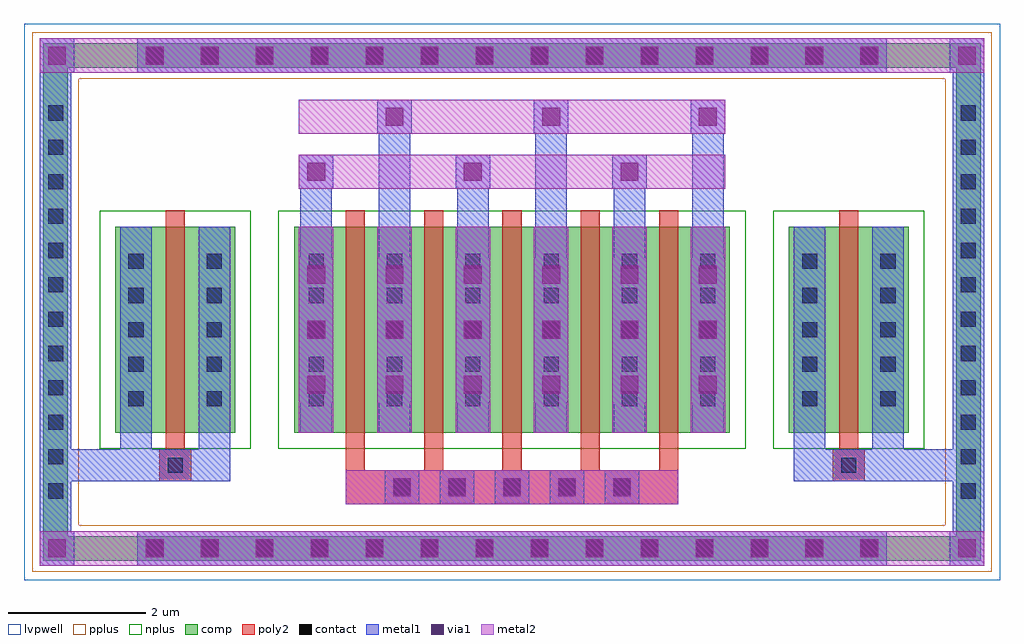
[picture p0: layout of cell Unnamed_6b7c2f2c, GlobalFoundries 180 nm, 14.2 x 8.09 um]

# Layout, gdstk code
import gdstk
lib = gdstk.Library(unit=1e-6, precision=5e-09)
def R(c, l, rs):  # rectangles x0, y0, x1, y1
    for r in rs: c.add(gdstk.rectangle(r[:2], r[2:], *l))
def A(c, l, x, y, w, h, nx, ny, dx, dy):  # array of equal rectangles
    R(c, l, [(x+i*dx, y+j*dy, x+i*dx+w, y+j*dy+h) for i in range(nx) for j in range(ny)])
def P(c, l, *ps):  # polygons
    for p in ps: c.add(gdstk.Polygon(p, *l))
comp = (22, 0)
poly2 = (30, 0)
pplus = (31, 0)
nplus = (32, 0)
contact = (33, 0)
metal1 = (34, 0)
via1 = (35, 0)
metal2 = (36, 0)
lvpwell = (204, 0)

unnamed_6b7c2f2c = lib.new_cell('Unnamed_6b7c2f2c')
A(unnamed_6b7c2f2c, comp, -5.38, -3.765, 0.36, 0.36, 14, 2, 0.8, 7.17)
A(unnamed_6b7c2f2c, comp, -6.82, -2.93, 0.36, 0.36, 1, 12, 0, 0.5)
A(unnamed_6b7c2f2c, comp, 6.46, -2.93, 0.36, 0.36, 1, 12, 0, 0.5)
R(unnamed_6b7c2f2c, comp, [(-5.38,-3.765,5.38,-3.405), (-6.82,-2.93,-6.46,2.93), (6.46,-2.93,6.82,2.93), (-5.77,-1.905,-4.03,1.095), (-3.17,-1.905,3.17,1.095), (4.03,-1.905,5.77,1.095), (-5.38,3.405,5.38,3.765)])
P(unnamed_6b7c2f2c, comp, [(-6.82,-3.765),(-6.82,-3.405),(-6.46,-3.405),(6.46,-3.405),(6.46,3.405),(-6.46,3.405),(-6.46,-3.405),(-6.82,-3.405),(-6.82,3.765),(6.82,3.765),(6.82,-3.765)])
A(unnamed_6b7c2f2c, poly2, -1.78, -2.875, 0.36, 0.36, 5, 1, 0.8, 0)
A(unnamed_6b7c2f2c, poly2, -2.42, -2.445, 0.28, 0.3, 5, 1, 1.14, 0)
A(unnamed_6b7c2f2c, poly2, -2.42, -2.145, 0.28, 3.48, 5, 1, 1.14, 0)
R(unnamed_6b7c2f2c, poly2, [(-2.42,-2.945,2.42,-2.445), (-5.13,-2.605,-4.67,-2.145), (4.67,-2.605,5.13,-2.145), (-5.08,-2.555,-4.72,-2.195), (4.72,-2.555,5.08,-2.195), (-5.04,-2.145,-4.76,1.335), (4.76,-2.145,5.04,1.335)])
P(unnamed_6b7c2f2c, pplus, [(-6.98,-3.925),(-6.98,-3.245),(-6.3,-3.245),(6.3,-3.245),(6.3,3.245),(-6.3,3.245),(-6.3,-3.245),(-6.98,-3.245),(-6.98,3.925),(6.98,3.925),(6.98,-3.925)])
R(unnamed_6b7c2f2c, nplus, [(-6,-2.135,-3.8,1.325), (-3.4,-2.135,3.4,1.325), (3.8,-2.135,6,1.325)])
A(unnamed_6b7c2f2c, contact, -5.31, -3.695, 0.22, 0.22, 14, 2, 0.8, 7.17)
A(unnamed_6b7c2f2c, contact, -6.75, -2.86, 0.22, 0.22, 1, 12, 0, 0.5)
A(unnamed_6b7c2f2c, contact, 6.53, -2.86, 0.22, 0.22, 1, 12, 0, 0.5)
A(unnamed_6b7c2f2c, contact, -1.71, -2.805, 0.22, 0.22, 5, 1, 0.8, 0)
A(unnamed_6b7c2f2c, contact, -5.58, -1.515, 0.22, 0.22, 1, 5, 0, 0.5)
A(unnamed_6b7c2f2c, contact, -4.44, -1.515, 0.22, 0.22, 1, 5, 0, 0.5)
A(unnamed_6b7c2f2c, contact, -2.96, -1.515, 0.22, 0.22, 6, 5, 1.14, 0.5)
A(unnamed_6b7c2f2c, contact, 4.22, -1.515, 0.22, 0.22, 1, 5, 0, 0.5)
A(unnamed_6b7c2f2c, contact, 5.36, -1.515, 0.22, 0.22, 1, 5, 0, 0.5)
R(unnamed_6b7c2f2c, contact, [(-5.01,-2.485,-4.79,-2.265), (4.79,-2.485,5.01,-2.265)])
A(unnamed_6b7c2f2c, metal1, -5.45, -3.835, 0.5, 0.5, 14, 2, 0.8, 7.17)
A(unnamed_6b7c2f2c, metal1, -6.87, -2.98, 0.46, 0.46, 1, 12, 0, 0.5)
A(unnamed_6b7c2f2c, metal1, 6.41, -2.98, 0.46, 0.46, 1, 12, 0, 0.5)
A(unnamed_6b7c2f2c, metal1, -1.85, -2.945, 0.5, 0.5, 5, 1, 0.8, 0)
A(unnamed_6b7c2f2c, metal1, -3.08, -1.905, 0.46, 3, 6, 1, 1.14, 0)
A(unnamed_6b7c2f2c, metal1, -5.7, -1.635, 0.46, 0.46, 1, 5, 0, 0.5)
A(unnamed_6b7c2f2c, metal1, -4.56, -1.635, 0.46, 0.46, 1, 5, 0, 0.5)
A(unnamed_6b7c2f2c, metal1, -3.08, -1.635, 0.46, 0.46, 6, 5, 1.14, 0.5)
A(unnamed_6b7c2f2c, metal1, 4.1, -1.635, 0.46, 0.46, 1, 5, 0, 0.5)
A(unnamed_6b7c2f2c, metal1, 5.24, -1.635, 0.46, 0.46, 1, 5, 0, 0.5)
A(unnamed_6b7c2f2c, metal1, -3.1, -1.455, 0.5, 2.1, 6, 1, 1.14, 0)
A(unnamed_6b7c2f2c, metal1, -3.1, -1.455, 0.5, 0.5, 6, 3, 1.14, 0.8)
A(unnamed_6b7c2f2c, metal1, -3.08, 1.095, 0.46, 1.05, 3, 1, 2.28, 0)
A(unnamed_6b7c2f2c, metal1, -1.94, 1.095, 0.46, 1.85, 3, 1, 2.28, 0)
A(unnamed_6b7c2f2c, metal1, -3.1, 1.645, 0.5, 0.5, 3, 1, 2.28, 0)
A(unnamed_6b7c2f2c, metal1, -1.96, 2.445, 0.5, 0.5, 3, 1, 2.28, 0)
R(unnamed_6b7c2f2c, metal1, [(-6.87,-3.835,-6.37,-3.335), (-6.87,-3.835,-6.37,-3.335), (-6.87,-3.835,-6.41,-3.405), (-5.45,-3.835,5.45,-3.335), (6.37,-3.835,6.87,-3.335), (6.37,-3.835,6.87,-3.335), (6.41,-3.835,6.87,-3.405), (-6.87,-3.405,-6.41,3.405), (6.41,-3.405,6.87,3.405), (-6.87,-2.605,-5.13,-2.145), (-5.7,-2.605,-5.13,-2.145), (-5.7,-2.605,-5.24,-1.905), (-5.13,-2.605,-4.67,-2.145), (-4.67,-2.605,-4.1,-2.145), (-4.56,-2.605,-4.1,-1.905), (4.1,-2.605,4.67,-2.145), (4.1,-2.605,4.56,-1.905), (4.67,-2.605,5.13,-2.145), (4.67,-2.605,6.87,-2.145), (5.13,-2.605,5.7,-2.145), (5.24,-2.605,5.7,-1.905), (-5.7,-1.905,-5.24,1.095), (-4.56,-1.905,-4.1,1.095), (4.1,-1.905,4.56,1.095), (5.24,-1.905,5.7,1.095), (-6.87,3.335,-6.37,3.835), (-6.87,3.335,-6.37,3.835), (-5.45,3.335,5.45,3.835), (6.37,3.335,6.87,3.835), (6.37,3.335,6.87,3.835), (-6.87,3.405,-6.41,3.835), (6.41,3.405,6.87,3.835)])
A(unnamed_6b7c2f2c, via1, -5.33, -3.715, 0.26, 0.26, 14, 2, 0.8, 7.17)
A(unnamed_6b7c2f2c, via1, -1.73, -2.825, 0.26, 0.26, 5, 1, 0.8, 0)
A(unnamed_6b7c2f2c, via1, -2.98, -1.335, 0.26, 0.26, 6, 3, 1.14, 0.8)
A(unnamed_6b7c2f2c, via1, -2.98, 1.765, 0.26, 0.26, 3, 1, 2.28, 0)
A(unnamed_6b7c2f2c, via1, -1.84, 2.565, 0.26, 0.26, 3, 1, 2.28, 0)
R(unnamed_6b7c2f2c, via1, [(-6.75,-3.715,-6.49,-3.455), (6.49,-3.715,6.75,-3.455), (-6.75,3.455,-6.49,3.715), (6.49,3.455,6.75,3.715)])
A(unnamed_6b7c2f2c, metal2, -5.45, -3.835, 0.5, 0.5, 14, 2, 0.8, 7.17)
A(unnamed_6b7c2f2c, metal2, -1.85, -2.945, 0.5, 0.5, 5, 1, 0.8, 0)
A(unnamed_6b7c2f2c, metal2, -3.1, -1.905, 0.5, 3, 6, 1, 1.14, 0)
A(unnamed_6b7c2f2c, metal2, -3.1, -1.455, 0.5, 0.5, 6, 3, 1.14, 0.8)
A(unnamed_6b7c2f2c, metal2, -3.1, 1.645, 0.5, 0.5, 3, 1, 2.28, 0)
A(unnamed_6b7c2f2c, metal2, -1.96, 2.445, 0.5, 0.5, 3, 1, 2.28, 0)
R(unnamed_6b7c2f2c, metal2, [(-6.87,-3.835,-6.37,-3.335), (-6.87,-3.835,-6.37,-3.335), (-6.87,-3.835,-6.46,-3.335), (-6.46,-3.835,6.46,-3.335), (6.37,-3.835,6.87,-3.335), (6.37,-3.835,6.87,-3.335), (6.46,-3.835,6.87,-3.335), (-2.42,-2.945,2.42,-2.445), (-3.1,1.645,3.1,2.145), (-3.1,2.445,3.1,2.945), (-6.87,3.335,-6.37,3.835), (-6.87,3.335,-6.37,3.835), (-6.87,3.335,-6.46,3.835), (-6.46,3.335,6.46,3.835), (6.37,3.335,6.87,3.835), (6.37,3.335,6.87,3.835), (6.46,3.335,6.87,3.835)])
R(unnamed_6b7c2f2c, lvpwell, [(-7.1,-4.045,7.1,4.045)])

lib.write_gds('Unnamed_6b7c2f2c.gds')
